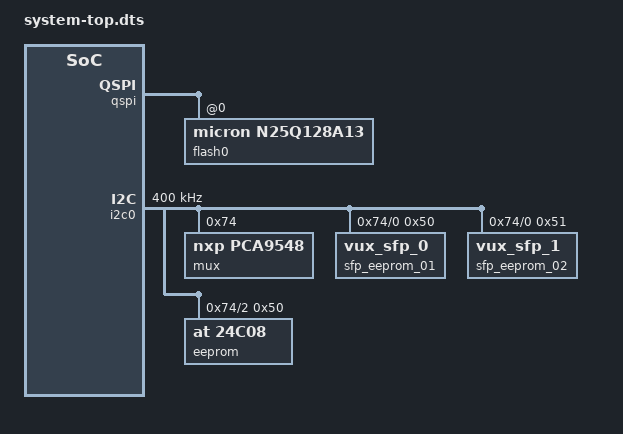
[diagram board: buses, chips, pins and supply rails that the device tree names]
/dts-v1/;
/include/ "system-conf.dtsi"
/ {
};

&qspi {
	flash0: flash@0  {
		compatible = "micron,n25q128a13";
	};
};

&i2c0 {
	clock-frequency = <400000>;
	status = "okay";
	mux@74 {
		#address-cells = <1>;
		#size-cells = <0>;
		compatible = "nxp,pca9548";
		reg = <0x74>;
		i2c@0 {
			reg = <0>;
			#address-cells = <1>;
			#size-cells = <0>;
			sfp_eeprom_01{
				compatible = "vux_sfp_0";
				reg = <0x50>;
			};
			sfp_eeprom_02{
				compatible = "vux_sfp_1";
				reg = <0x51>;
			};
		};
		i2c@2 {
			reg = <2>;
			#address-cells = <1>;
			#size-cells = <0>;
			eeprom{
				compatible = "at,24c08";
				reg = <0x50>;
			};
		};
	};
};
